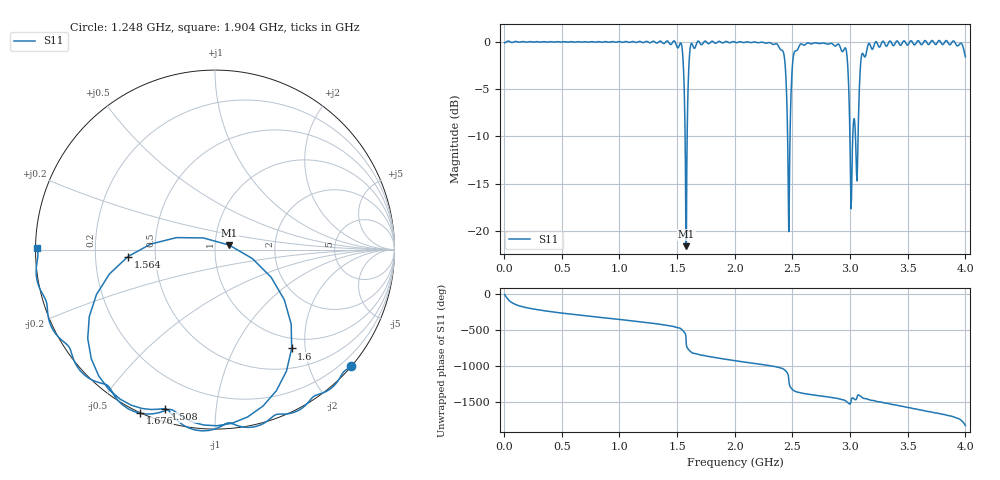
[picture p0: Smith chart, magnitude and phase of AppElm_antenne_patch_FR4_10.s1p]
! TOUCHSTONE file generated by CST MICROWAVE STUDIO
! Date and time: Tue Jun 14 14:31:20 2022
! Project name: AppElm_antenne_patch_FR4.cst
! Parameters = {L=45; W=58.5; e=0.035; h=1.6; lambda=0.190476; ls=144; w0=2.54; w1=0.847; ws=120; y0=18; y1=23.8}
! Header version: 2018
! Port assignment regex: !\s*Touchstone port\s*([0-9]+)\s*=\s*(CST MWS port|CST DS port)\s*([0-9]+|Zmin|Zmax)\s*\(\"(.*)\"\)(\s*mode\s*([0-9]+))?.*
! Touchstone port assignment:
! Touchstone port 1 = CST MWS port 1 ("")
# GHz S MA R 50
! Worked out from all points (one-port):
!   1000 points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, 4 MHz to 4 GHz, reference 50 ohm
!   lowest |S11| = -21.6 dB at 1.58 GHz (marker M1), VSWR 1.18, Z = 58.5 + j2.97 ohm
!   |S11| at or under -10 dB: 2.458 GHz to 2.479 GHz (21.31 MHz wide, 0.863 % of centre); 2.998 GHz to 3.023 GHz (25.13 MHz wide, 0.835 % of centre); 3.047 GHz to 3.069 GHz (22.71 MHz wide, 0.743 % of centre)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
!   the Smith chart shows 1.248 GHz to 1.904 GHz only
!   S11 on the Smith chart (normalised r, x): 1.248 GHz: 0.00, -2.70; 1.508 GHz: 0.06, -0.73; 1.564 GHz: 0.35, -0.04; 1.6 GHz: 0.81, -1.75; 1.676 GHz: -0.00, -0.64; 1.904 GHz: 0.00, +0.01
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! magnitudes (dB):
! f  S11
! 4 MHz  -0.1
! 504 MHz  0.0
! 1.004 GHz  0.0
! 1.248 GHz  0.0
! 1.504 GHz  -0.6
! 1.508 GHz  -0.6
! 1.544 GHz  -0.7
! 1.564 GHz  -6.2
! 1.58 GHz  -21.6
! 1.6 GHz  -3.1
! 1.62 GHz  -0.2
! 1.676 GHz  0.0
! 1.904 GHz  -0.1
! 2.004 GHz  0.0
! 2.408 GHz  -0.9
! 2.432 GHz  -1.8
! 2.468 GHz  -20.1
! 2.484 GHz  -7.2
! 2.504 GHz  -1.9
! 2.576 GHz  -0.2
! 2.952 GHz  -0.7
! 2.976 GHz  -1.9
! 3.004 GHz  -14.7
! 3.056 GHz  -13.9
! 3.1 GHz  -1.4
! 3.156 GHz  -0.3
! 3.504 GHz  -0.3
! 4 GHz  -1.6
